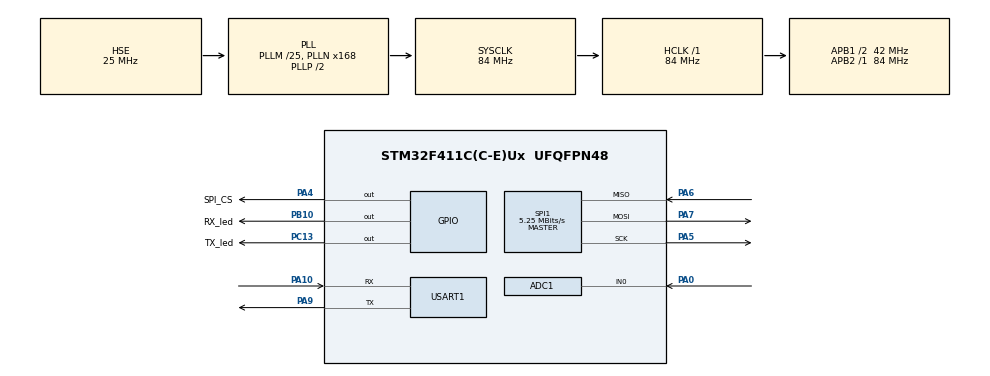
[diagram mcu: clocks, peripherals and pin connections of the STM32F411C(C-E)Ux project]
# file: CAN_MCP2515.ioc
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ADC1.Channel-0\#ChannelRegularConversion=ADC_CHANNEL_0
ADC1.NbrOfConversionFlag=1
ADC1.Rank-0\#ChannelRegularConversion=1
ADC1.SamplingTime-0\#ChannelRegularConversion=ADC_SAMPLETIME_3CYCLES
ADC1.master=1
Mcu.Family=STM32F4
Mcu.Name=STM32F411C(C-E)Ux
Mcu.Package=UFQFPN48
NVIC.PriorityGroup=NVIC_PRIORITYGROUP_4
PA0-WKUP.Signal=ADCx_IN0
PA10.Mode=Asynchronous
PA10.Signal=USART1_RX
PA13.Mode=Serial_Wire
PA13.Signal=SYS_JTMS-SWDIO
PA14.Mode=Serial_Wire
PA14.Signal=SYS_JTCK-SWCLK
PA4.GPIO_Label=SPI_CS
PA4.GPIO_PuPd=GPIO_NOPULL
PA4.GPIO_Speed=GPIO_SPEED_FREQ_VERY_HIGH
PA4.PinState=GPIO_PIN_SET
PA4.Signal=GPIO_Output
PA5.Mode=Full_Duplex_Master
PA5.Signal=SPI1_SCK
PA6.Mode=Full_Duplex_Master
PA6.Signal=SPI1_MISO
PA7.Mode=Full_Duplex_Master
PA7.Signal=SPI1_MOSI
PA9.Mode=Asynchronous
PA9.Signal=USART1_TX
PB10.GPIO_Label=RX_led
PB10.Signal=GPIO_Output
PC13-ANTI_TAMP.GPIO_Label=TX_led
PC13-ANTI_TAMP.PinState=GPIO_PIN_RESET
PC13-ANTI_TAMP.Signal=GPIO_Output
PC14-OSC32_IN.Mode=LSE-External-Oscillator
PC14-OSC32_IN.Signal=RCC_OSC32_IN
PC15-OSC32_OUT.Mode=LSE-External-Oscillator
PC15-OSC32_OUT.Signal=RCC_OSC32_OUT
PH0\ -\ OSC_IN.Mode=HSE-External-Oscillator
PH0\ -\ OSC_IN.Signal=RCC_OSC_IN
PH1\ -\ OSC_OUT.Mode=HSE-External-Oscillator
PH1\ -\ OSC_OUT.Signal=RCC_OSC_OUT
ProjectManager.HeapSize=0x200
ProjectManager.StackSize=0x400
ProjectManager.TargetToolchain=STM32CubeIDE
RCC.48MHZClocksFreq_Value=42000000
RCC.AHBFreq_Value=84000000
RCC.APB1CLKDivider=RCC_HCLK_DIV2
RCC.APB1Freq_Value=42000000
RCC.APB1TimFreq_Value=84000000
RCC.APB2Freq_Value=84000000
RCC.APB2TimFreq_Value=84000000
RCC.CortexFreq_Value=84000000
RCC.HCLKFreq_Value=84000000
RCC.HSE_VALUE=25000000
RCC.HSI_VALUE=16000000
RCC.PLLM=25
RCC.PLLN=168
RCC.PLLSourceVirtual=RCC_PLLSOURCE_HSE
RCC.SYSCLKFreq_VALUE=84000000
RCC.SYSCLKSource=RCC_SYSCLKSOURCE_PLLCLK
RCC.VCOOutputFreq_Value=168000000
SH.ADCx_IN0.0=ADC1_IN0,IN0
SPI1.BaudRatePrescaler=SPI_BAUDRATEPRESCALER_16
SPI1.CLKPolarity=SPI_POLARITY_LOW
SPI1.CalculateBaudRate=5.25 MBits/s
SPI1.DataSize=SPI_DATASIZE_8BIT
SPI1.Direction=SPI_DIRECTION_2LINES
SPI1.Mode=SPI_MODE_MASTER
SPI1.TIMode=SPI_TIMODE_DISABLE
SPI1.VirtualType=VM_MASTER
USART1.VirtualMode=VM_ASYNC
board=custom

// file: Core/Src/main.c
/* USER CODE BEGIN Header */
/**
  ******************************************************************************
  * @file           : main.c
  * @brief          : Main program body
  ******************************************************************************
  * @attention
  *
  * Copyright (c) 2024 STMicroelectronics.
  * All rights reserved.
  *
  * This software is licensed under terms that can be found in the LICENSE file
  * in the root directory of this software component.
  * If no LICENSE file comes with this software, it is provided AS-IS.
  *
  ******************************************************************************
  */
/* USER CODE END Header */
#include "main.h"

/* USER CODE BEGIN Includes */
//NATIVAS DE C
#include "stdio.h"
#include "string.h"

//CREADAS POR EL USUARIO
#include "CAN_SPI.h"

/* USER CODE END Includes */

ADC_HandleTypeDef hadc1;

SPI_HandleTypeDef hspi1;

UART_HandleTypeDef huart1;

/* USER CODE BEGIN PV */
uCAN_MSG txMessage;
uCAN_MSG rxMessage;
/* USER CODE END PV */

void SystemClock_Config(void);
static void MX_GPIO_Init(void);
static void MX_SPI1_Init(void);
static void MX_USART1_UART_Init(void);
static void MX_ADC1_Init(void);

int main(void)
{

  /* MCU Configuration--------------------------------------------------------*/

  /* Reset of all peripherals, Initializes the Flash interface and the Systick. */
  HAL_Init();

  /* Configure the system clock */
  SystemClock_Config();

  /* Initialize all configured peripherals */
  MX_GPIO_Init();
  MX_SPI1_Init();
  MX_USART1_UART_Init();
  MX_ADC1_Init();
  /* USER CODE BEGIN 2 */

  int ret;
  ret = CANSPI_Initialize();
  if(ret < 0){
	  while(1){
		  HAL_GPIO_TogglePin(TX_led_GPIO_Port, TX_led_Pin);
		  HAL_Delay(1000);
	  }
  }

  /* USER CODE END 2 */

  /* Infinite loop */
  while (1)
  {

    /* USER CODE BEGIN 3 */
	  if(CANSPI_Receive(&rxMessage)){
		  if(rxMessage.frame.id == 0x36){//0x0A
			  if(rxMessage.frame.data1 == 1){
				  HAL_GPIO_WritePin(RX_led_GPIO_Port, RX_led_Pin, GPIO_PIN_SET);
			  }else{
				  HAL_GPIO_WritePin(RX_led_GPIO_Port, RX_led_Pin, GPIO_PIN_RESET);
			  }
		  }
	  HAL_Delay(250);
	  txMessage.frame.idType = rxMessage.frame.idType;
	  txMessage.frame.id = 0x0A;//0x36
	  txMessage.frame.dlc = 8;
	  txMessage.frame.data0 = 1;
	  txMessage.frame.data1 = 1;
	  txMessage.frame.data2 = 2;
	  txMessage.frame.data3 = 3;
	  txMessage.frame.data4 = 4;
	  txMessage.frame.data5 = 5;
	  txMessage.frame.data6 = 6;
	  txMessage.frame.data7 = 7;
	  CANSPI_Transmit(&txMessage);
	 }
  }
  /* USER CODE END 3 */
}

void SystemClock_Config(void)
{
  RCC_OscInitTypeDef RCC_OscInitStruct = {0};
  RCC_ClkInitTypeDef RCC_ClkInitStruct = {0};

  /** Configure the main internal regulator output voltage
  */
  __HAL_RCC_PWR_CLK_ENABLE();
  __HAL_PWR_VOLTAGESCALING_CONFIG(PWR_REGULATOR_VOLTAGE_SCALE1);

  /** Initializes the RCC Oscillators according to the specified parameters
  * in the RCC_OscInitTypeDef structure.
  */
  RCC_OscInitStruct.OscillatorType = RCC_OSCILLATORTYPE_HSE;
  RCC_OscInitStruct.HSEState = RCC_HSE_ON;
  RCC_OscInitStruct.PLL.PLLState = RCC_PLL_ON;
  RCC_OscInitStruct.PLL.PLLSource = RCC_PLLSOURCE_HSE;
  RCC_OscInitStruct.PLL.PLLM = 25;
  RCC_OscInitStruct.PLL.PLLN = 168;
  RCC_OscInitStruct.PLL.PLLP = RCC_PLLP_DIV2;
  RCC_OscInitStruct.PLL.PLLQ = 4;
  if (HAL_RCC_OscConfig(&RCC_OscInitStruct) != HAL_OK)
  {
    Error_Handler();
  }

  /** Initializes the CPU, AHB and APB buses clocks
  */
  RCC_ClkInitStruct.ClockType = RCC_CLOCKTYPE_HCLK|RCC_CLOCKTYPE_SYSCLK
                              |RCC_CLOCKTYPE_PCLK1|RCC_CLOCKTYPE_PCLK2;
  RCC_ClkInitStruct.SYSCLKSource = RCC_SYSCLKSOURCE_PLLCLK;
  RCC_ClkInitStruct.AHBCLKDivider = RCC_SYSCLK_DIV1;
  RCC_ClkInitStruct.APB1CLKDivider = RCC_HCLK_DIV2;
  RCC_ClkInitStruct.APB2CLKDivider = RCC_HCLK_DIV1;

  if (HAL_RCC_ClockConfig(&RCC_ClkInitStruct, FLASH_LATENCY_2) != HAL_OK)
  {
    Error_Handler();
  }
}

static void MX_ADC1_Init(void)
{

  ADC_ChannelConfTypeDef sConfig = {0};

  /** Configure the global features of the ADC (Clock, Resolution, Data Alignment and number of conversion)
  */
  hadc1.Instance = ADC1;
  hadc1.Init.ClockPrescaler = ADC_CLOCK_SYNC_PCLK_DIV4;
  hadc1.Init.Resolution = ADC_RESOLUTION_12B;
  hadc1.Init.ScanConvMode = DISABLE;
  hadc1.Init.ContinuousConvMode = DISABLE;
  hadc1.Init.DiscontinuousConvMode = DISABLE;
  hadc1.Init.ExternalTrigConvEdge = ADC_EXTERNALTRIGCONVEDGE_NONE;
  hadc1.Init.ExternalTrigConv = ADC_SOFTWARE_START;
  hadc1.Init.DataAlign = ADC_DATAALIGN_RIGHT;
  hadc1.Init.NbrOfConversion = 1;
  hadc1.Init.DMAContinuousRequests = DISABLE;
  hadc1.Init.EOCSelection = ADC_EOC_SINGLE_CONV;
  if (HAL_ADC_Init(&hadc1) != HAL_OK)
  {
    Error_Handler();
  }

  /** Configure for the selected ADC regular channel its corresponding rank in the sequencer and its sample time.
  */
  sConfig.Channel = ADC_CHANNEL_0;
  sConfig.Rank = 1;
  sConfig.SamplingTime = ADC_SAMPLETIME_3CYCLES;
  if (HAL_ADC_ConfigChannel(&hadc1, &sConfig) != HAL_OK)
  {
    Error_Handler();
  }

}

static void MX_SPI1_Init(void)
{

  /* SPI1 parameter configuration*/
  hspi1.Instance = SPI1;
  hspi1.Init.Mode = SPI_MODE_MASTER;
  hspi1.Init.Direction = SPI_DIRECTION_2LINES;
  hspi1.Init.DataSize = SPI_DATASIZE_8BIT;
  hspi1.Init.CLKPolarity = SPI_POLARITY_LOW;
  hspi1.Init.CLKPhase = SPI_PHASE_1EDGE;
  hspi1.Init.NSS = SPI_NSS_SOFT;
  hspi1.Init.BaudRatePrescaler = SPI_BAUDRATEPRESCALER_16;
  hspi1.Init.FirstBit = SPI_FIRSTBIT_MSB;
  hspi1.Init.TIMode = SPI_TIMODE_DISABLE;
  hspi1.Init.CRCCalculation = SPI_CRCCALCULATION_DISABLE;
  hspi1.Init.CRCPolynomial = 10;
  if (HAL_SPI_Init(&hspi1) != HAL_OK)
  {
    Error_Handler();
  }

}

static void MX_USART1_UART_Init(void)
{

  huart1.Instance = USART1;
  huart1.Init.BaudRate = 115200;
  huart1.Init.WordLength = UART_WORDLENGTH_8B;
  huart1.Init.StopBits = UART_STOPBITS_1;
  huart1.Init.Parity = UART_PARITY_NONE;
  huart1.Init.Mode = UART_MODE_TX_RX;
  huart1.Init.HwFlowCtl = UART_HWCONTROL_NONE;
  huart1.Init.OverSampling = UART_OVERSAMPLING_16;
  if (HAL_UART_Init(&huart1) != HAL_OK)
  {
    Error_Handler();
  }

}

static void MX_GPIO_Init(void)
{
  GPIO_InitTypeDef GPIO_InitStruct = {0};

  /* GPIO Ports Clock Enable */
  __HAL_RCC_GPIOC_CLK_ENABLE();
  __HAL_RCC_GPIOH_CLK_ENABLE();
  __HAL_RCC_GPIOA_CLK_ENABLE();
  __HAL_RCC_GPIOB_CLK_ENABLE();

  /*Configure GPIO pin Output Level */
  HAL_GPIO_WritePin(TX_led_GPIO_Port, TX_led_Pin, GPIO_PIN_RESET);

  /*Configure GPIO pin Output Level */
  HAL_GPIO_WritePin(SPI_CS_GPIO_Port, SPI_CS_Pin, GPIO_PIN_SET);

  /*Configure GPIO pin Output Level */
  HAL_GPIO_WritePin(RX_led_GPIO_Port, RX_led_Pin, GPIO_PIN_RESET);

  /*Configure GPIO pin : TX_led_Pin */
  GPIO_InitStruct.Pin = TX_led_Pin;
  GPIO_InitStruct.Mode = GPIO_MODE_OUTPUT_PP;
  GPIO_InitStruct.Pull = GPIO_NOPULL;
  GPIO_InitStruct.Speed = GPIO_SPEED_FREQ_LOW;
  HAL_GPIO_Init(TX_led_GPIO_Port, &GPIO_InitStruct);

  /*Configure GPIO pin : SPI_CS_Pin */
  GPIO_InitStruct.Pin = SPI_CS_Pin;
  GPIO_InitStruct.Mode = GPIO_MODE_OUTPUT_PP;
  GPIO_InitStruct.Pull = GPIO_NOPULL;
  GPIO_InitStruct.Speed = GPIO_SPEED_FREQ_VERY_HIGH;
  HAL_GPIO_Init(SPI_CS_GPIO_Port, &GPIO_InitStruct);

  /*Configure GPIO pin : RX_led_Pin */
  GPIO_InitStruct.Pin = RX_led_Pin;
  GPIO_InitStruct.Mode = GPIO_MODE_OUTPUT_PP;
  GPIO_InitStruct.Pull = GPIO_NOPULL;
  GPIO_InitStruct.Speed = GPIO_SPEED_FREQ_LOW;
  HAL_GPIO_Init(RX_led_GPIO_Port, &GPIO_InitStruct);

}

void Error_Handler(void)
{
  __disable_irq();
  while (1)
  {
  }
}
